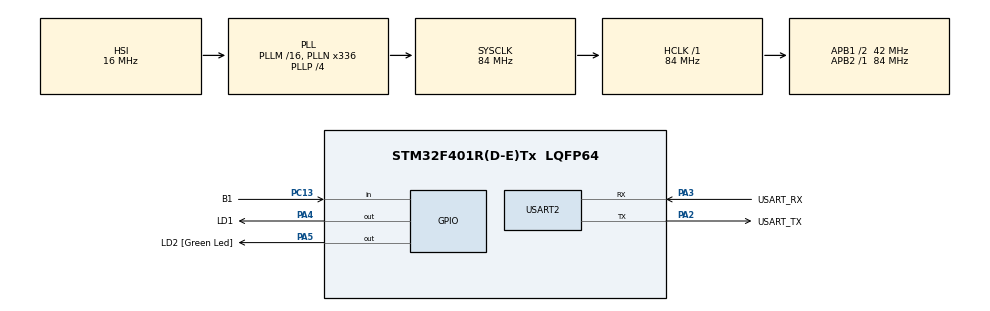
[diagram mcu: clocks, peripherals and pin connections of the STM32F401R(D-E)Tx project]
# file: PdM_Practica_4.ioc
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Mcu.Family=STM32F4
Mcu.Name=STM32F401R(D-E)Tx
Mcu.Package=LQFP64
NVIC.PriorityGroup=NVIC_PRIORITYGROUP_0
PA13.GPIO_Label=TMS
PA13.Mode=Serial_Wire
PA13.Signal=SYS_JTMS-SWDIO
PA14.GPIO_Label=TCK
PA14.Mode=Serial_Wire
PA14.Signal=SYS_JTCK-SWCLK
PA2.GPIO_Label=USART_TX
PA2.GPIO_Mode=GPIO_MODE_AF_PP
PA2.GPIO_PuPd=GPIO_NOPULL
PA2.GPIO_Speed=GPIO_SPEED_FREQ_LOW
PA2.Mode=Asynchronous
PA2.Signal=USART2_TX
PA3.GPIO_Label=USART_RX
PA3.GPIO_Mode=GPIO_MODE_AF_PP
PA3.GPIO_PuPd=GPIO_NOPULL
PA3.GPIO_Speed=GPIO_SPEED_FREQ_LOW
PA3.Mode=Asynchronous
PA3.Signal=USART2_RX
PA4.GPIO_Label=LD1
PA4.Signal=GPIO_Output
PA5.GPIO_Label=LD2 [Green Led]
PA5.GPIO_Mode=GPIO_MODE_OUTPUT_PP
PA5.GPIO_PuPd=GPIO_NOPULL
PA5.GPIO_Speed=GPIO_SPEED_FREQ_LOW
PA5.Signal=GPIO_Output
PB3.GPIO_Label=SWO
PB3.Signal=SYS_JTDO-SWO
PC13-ANTI_TAMP.GPIO_Label=B1
PC13-ANTI_TAMP.GPIO_PuPd=GPIO_PULLUP
PC13-ANTI_TAMP.Signal=GPIO_Input
PC14-OSC32_IN.Mode=LSE-External-Oscillator
PC14-OSC32_IN.Signal=RCC_OSC32_IN
PC15-OSC32_OUT.Mode=LSE-External-Oscillator
PC15-OSC32_OUT.Signal=RCC_OSC32_OUT
PH0\ -\ OSC_IN.Mode=HSE-External-Clock-Source
PH0\ -\ OSC_IN.Signal=RCC_OSC_IN
PH1\ -\ OSC_OUT.Mode=HSE-External-Clock-Source
PH1\ -\ OSC_OUT.Signal=RCC_OSC_OUT
ProjectManager.HeapSize=0x200
ProjectManager.StackSize=0x400
ProjectManager.TargetToolchain=STM32CubeIDE
RCC.48MHZClocksFreq_Value=48000000
RCC.AHBFreq_Value=84000000
RCC.APB1CLKDivider=RCC_HCLK_DIV2
RCC.APB1Freq_Value=42000000
RCC.APB1TimFreq_Value=84000000
RCC.APB2Freq_Value=84000000
RCC.APB2TimFreq_Value=84000000
RCC.CortexFreq_Value=84000000
RCC.HCLKFreq_Value=84000000
RCC.HSE_VALUE=8000000
RCC.HSI_VALUE=16000000
RCC.PLLN=336
RCC.PLLP=RCC_PLLP_DIV4
RCC.PLLQ=7
RCC.SYSCLKFreq_VALUE=84000000
RCC.SYSCLKSource=RCC_SYSCLKSOURCE_PLLCLK
RCC.VCOOutputFreq_Value=336000000
USART2.VirtualMode=VM_ASYNC
board=NUCLEO-F401RE

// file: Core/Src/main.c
/* USER CODE BEGIN Header */
/**
  ******************************************************************************
  * @file           : main.c
  * @brief          : Main program body
  ******************************************************************************
  * @attention
  *
  * Copyright (c) 2023 STMicroelectronics.
  * All rights reserved.
  *
  * This software is licensed under terms that can be found in the LICENSE file
  * in the root directory of this software component.
  * If no LICENSE file comes with this software, it is provided AS-IS.
  *
  ******************************************************************************
  */
/* USER CODE END Header */
#include "main.h"

/* USER CODE BEGIN Includes */
#include "API_debounce.h"
/* USER CODE END Includes */

UART_HandleTypeDef huart2;

void SystemClock_Config(void);
static void MX_GPIO_Init(void);
static void MX_USART2_UART_Init(void);

/* USER CODE BEGIN 0 */

void button1Pressed(void);
void button1Released(void);

/* USER CODE END 0 */

int main(void)
{

  /* MCU Configuration--------------------------------------------------------*/

  /* Reset of all peripherals, Initializes the Flash interface and the Systick. */
  HAL_Init();

  /* Configure the system clock */
  SystemClock_Config();

  /* Initialize all configured peripherals */
  MX_GPIO_Init();
  MX_USART2_UART_Init();
  /* USER CODE BEGIN 2 */

  debounce_t button1 = {
    .port = B1_GPIO_Port,
    .pin = B1_Pin,
	.pressed = button1Pressed,
	.released = button1Released
  };

  debounceFSM_init(&button1);
 // debounceFSM_register_pressed (&button1, button1Pressed);
 // debounceFSM_register_released(&button1, button1Released);

  /* USER CODE END 2 */

  /* Infinite loop */
  /* USER CODE BEGIN WHILE */
  while (1)
  {
	  debounceFSM_update(&button1);
    /* USER CODE END WHILE */

  }
}

void SystemClock_Config(void)
{
  RCC_OscInitTypeDef RCC_OscInitStruct = {0};
  RCC_ClkInitTypeDef RCC_ClkInitStruct = {0};

  /** Configure the main internal regulator output voltage
  */
  __HAL_RCC_PWR_CLK_ENABLE();
  __HAL_PWR_VOLTAGESCALING_CONFIG(PWR_REGULATOR_VOLTAGE_SCALE2);

  /** Initializes the RCC Oscillators according to the specified parameters
  * in the RCC_OscInitTypeDef structure.
  */
  RCC_OscInitStruct.OscillatorType = RCC_OSCILLATORTYPE_HSI;
  RCC_OscInitStruct.HSIState = RCC_HSI_ON;
  RCC_OscInitStruct.HSICalibrationValue = RCC_HSICALIBRATION_DEFAULT;
  RCC_OscInitStruct.PLL.PLLState = RCC_PLL_ON;
  RCC_OscInitStruct.PLL.PLLSource = RCC_PLLSOURCE_HSI;
  RCC_OscInitStruct.PLL.PLLM = 16;
  RCC_OscInitStruct.PLL.PLLN = 336;
  RCC_OscInitStruct.PLL.PLLP = RCC_PLLP_DIV4;
  RCC_OscInitStruct.PLL.PLLQ = 7;
  if (HAL_RCC_OscConfig(&RCC_OscInitStruct) != HAL_OK)
  {
    Error_Handler();
  }

  /** Initializes the CPU, AHB and APB buses clocks
  */
  RCC_ClkInitStruct.ClockType = RCC_CLOCKTYPE_HCLK|RCC_CLOCKTYPE_SYSCLK
                              |RCC_CLOCKTYPE_PCLK1|RCC_CLOCKTYPE_PCLK2;
  RCC_ClkInitStruct.SYSCLKSource = RCC_SYSCLKSOURCE_PLLCLK;
  RCC_ClkInitStruct.AHBCLKDivider = RCC_SYSCLK_DIV1;
  RCC_ClkInitStruct.APB1CLKDivider = RCC_HCLK_DIV2;
  RCC_ClkInitStruct.APB2CLKDivider = RCC_HCLK_DIV1;

  if (HAL_RCC_ClockConfig(&RCC_ClkInitStruct, FLASH_LATENCY_2) != HAL_OK)
  {
    Error_Handler();
  }
}

static void MX_USART2_UART_Init(void)
{

  huart2.Instance = USART2;
  huart2.Init.BaudRate = 115200;
  huart2.Init.WordLength = UART_WORDLENGTH_8B;
  huart2.Init.StopBits = UART_STOPBITS_1;
  huart2.Init.Parity = UART_PARITY_NONE;
  huart2.Init.Mode = UART_MODE_TX_RX;
  huart2.Init.HwFlowCtl = UART_HWCONTROL_NONE;
  huart2.Init.OverSampling = UART_OVERSAMPLING_16;
  if (HAL_UART_Init(&huart2) != HAL_OK)
  {
    Error_Handler();
  }

}

static void MX_GPIO_Init(void)
{
  GPIO_InitTypeDef GPIO_InitStruct = {0};

  /* GPIO Ports Clock Enable */
  __HAL_RCC_GPIOC_CLK_ENABLE();
  __HAL_RCC_GPIOH_CLK_ENABLE();
  __HAL_RCC_GPIOA_CLK_ENABLE();
  __HAL_RCC_GPIOB_CLK_ENABLE();

  /*Configure GPIO pin Output Level */
  HAL_GPIO_WritePin(GPIOA, LD1_Pin|LD2_Pin, GPIO_PIN_RESET);

  /*Configure GPIO pin : B1_Pin */
  GPIO_InitStruct.Pin = B1_Pin;
  GPIO_InitStruct.Mode = GPIO_MODE_INPUT;
  GPIO_InitStruct.Pull = GPIO_PULLUP;
  HAL_GPIO_Init(B1_GPIO_Port, &GPIO_InitStruct);

  /*Configure GPIO pins : LD1_Pin LD2_Pin */
  GPIO_InitStruct.Pin = LD1_Pin|LD2_Pin;
  GPIO_InitStruct.Mode = GPIO_MODE_OUTPUT_PP;
  GPIO_InitStruct.Pull = GPIO_NOPULL;
  GPIO_InitStruct.Speed = GPIO_SPEED_FREQ_LOW;
  HAL_GPIO_Init(GPIOA, &GPIO_InitStruct);

}

/* USER CODE BEGIN 4 */
void button1Pressed(void){
	HAL_GPIO_TogglePin(LD2_GPIO_Port, LD2_Pin);
}

void button1Released(void){
	HAL_GPIO_TogglePin(LD1_GPIO_Port, LD1_Pin);
}
/* USER CODE END 4 */

void Error_Handler(void)
{
  __disable_irq();
  while (1)
  {
  }
}
